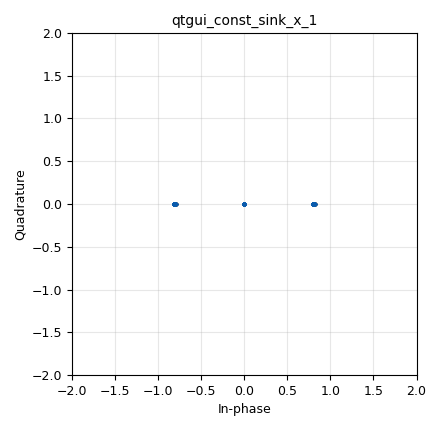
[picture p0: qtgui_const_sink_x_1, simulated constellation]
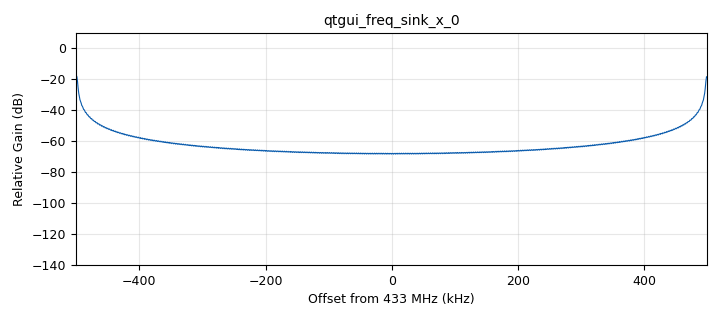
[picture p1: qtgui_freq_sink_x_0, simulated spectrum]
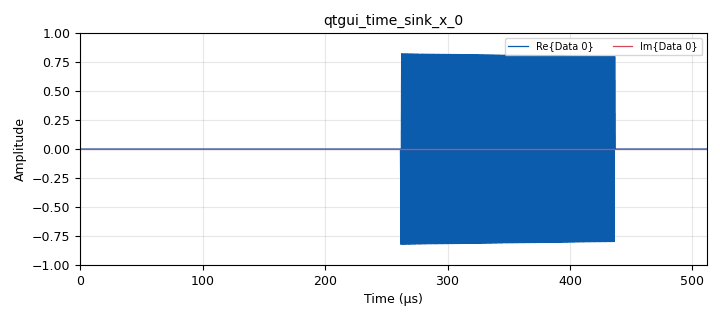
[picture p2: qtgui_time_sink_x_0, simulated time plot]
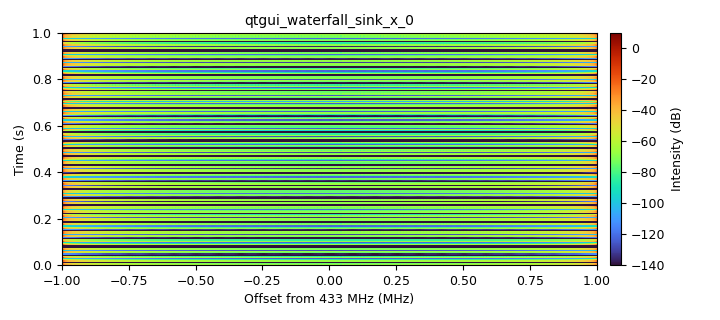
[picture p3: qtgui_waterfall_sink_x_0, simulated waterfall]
<?xml version='1.0' encoding='utf-8'?>
<?grc format='1' created='3.7.13'?>
<flow_graph>
<block>
<key>options</key>
<param><key>id</key><value>ask_ook</value></param>
<param><key>generate_options</key><value>qt_gui</value></param>
</block>
<block>
<key>variable</key>
<param><key>id</key><value>freq</value></param>
<param><key>value</key><value>433e6</value></param>
</block>
<block>
<key>variable</key>
<param><key>id</key><value>samp_rate</value></param>
<param><key>value</key><value>2e6</value></param>
</block>
<block>
<key>analog_const_source_x</key>
<param><key>id</key><value>analog_const_source_x_0</value></param>
<param><key>const</key><value>1</value></param>
<param><key>type</key><value>float</value></param>
</block>
<block>
<key>analog_const_source_x</key>
<param><key>id</key><value>analog_const_source_x_1</value></param>
<param><key>const</key><value>0</value></param>
<param><key>type</key><value>float</value></param>
</block>
<block>
<key>analog_sig_source_x</key>
<param><key>id</key><value>analog_sig_source_x_0</value></param>
<param><key>amp</key><value>1</value></param>
<param><key>freq</key><value>freq</value></param>
<param><key>offset</key><value>0</value></param>
<param><key>type</key><value>float</value></param>
<param><key>samp_rate</key><value>samp_rate</value></param>
<param><key>waveform</key><value>analog.GR_COS_WAVE</value></param>
</block>
<block>
<key>blocks_float_to_complex</key>
<param><key>id</key><value>blocks_float_to_complex_0</value></param>
</block>
<block>
<key>blocks_multiply_const_vxx</key>
<param><key>id</key><value>blocks_multiply_const_vxx_0</value></param>
<param><key>const</key><value>1</value></param>
<param><key>type</key><value>complex</value></param>
</block>
<block>
<key>blocks_multiply_xx</key>
<param><key>id</key><value>blocks_multiply_xx_0</value></param>
<param><key>type</key><value>float</value></param>
</block>
<block>
<key>blocks_patterned_interleaver</key>
<param><key>id</key><value>blocks_patterned_interleaver_0</value></param>
<param><key>type</key><value>float</value></param>
<param><key>pattern</key><value>[0,2,1,2,1]</value></param>
</block>
<block>
<key>blocks_patterned_interleaver</key>
<param><key>id</key><value>blocks_patterned_interleaver_2</value></param>
<param><key>type</key><value>float</value></param>
<param><key>pattern</key><value>[0,1]</value></param>
</block>
<block>
<key>blocks_repeat</key>
<param><key>id</key><value>blocks_repeat_0</value></param>
<param><key>interp</key><value>350</value></param>
<param><key>type</key><value>float</value></param>
</block>
<block>
<key>blocks_throttle</key>
<param><key>id</key><value>blocks_throttle_0</value></param>
<param><key>samples_per_second</key><value>samp_rate</value></param>
<param><key>type</key><value>float</value></param>
</block>
<block>
<key>blocks_throttle</key>
<param><key>id</key><value>blocks_throttle_1</value></param>
<param><key>samples_per_second</key><value>2e5</value></param>
<param><key>type</key><value>complex</value></param>
</block>
<block>
<key>blocks_vector_source_x</key>
<param><key>id</key><value>blocks_vector_source_x_1</value></param>
<param><key>type</key><value>float</value></param>
<param><key>repeat</key><value>True</value></param>
<param><key>vector</key><value>(1,1,1,1,0,0,0,0,1,1,1,1,0,0,0,0,1,1,0,0,1,1,0,0,1,0,1,0)</value></param>
</block>
<block>
<key>qtgui_const_sink_x</key>
<param><key>id</key><value>qtgui_const_sink_x_1</value></param>
<param><key>size</key><value>1024</value></param>
<param><key>type</key><value>complex</value></param>
</block>
<block>
<key>qtgui_freq_sink_x</key>
<param><key>id</key><value>qtgui_freq_sink_x_0</value></param>
<param><key>bw</key><value>1e6</value></param>
<param><key>fc</key><value>freq</value></param>
<param><key>fftsize</key><value>1024</value></param>
<param><key>showports</key><value>True</value></param>
<param><key>type</key><value>complex</value></param>
<param><key>wintype</key><value>firdes.WIN_BLACKMAN_hARRIS</value></param>
</block>
<block>
<key>qtgui_time_sink_x</key>
<param><key>id</key><value>qtgui_time_sink_x_0</value></param>
<param><key>color1</key><value>"blue"</value></param>
<param><key>label1</key><value></value></param>
<param><key>color2</key><value>"red"</value></param>
<param><key>label2</key><value></value></param>
<param><key>size</key><value>1024</value></param>
<param><key>srate</key><value>samp_rate</value></param>
<param><key>type</key><value>complex</value></param>
</block>
<block>
<key>qtgui_waterfall_sink_x</key>
<param><key>id</key><value>qtgui_waterfall_sink_x_0</value></param>
<param><key>bw</key><value>samp_rate</value></param>
<param><key>fc</key><value>freq</value></param>
<param><key>fftsize</key><value>1024</value></param>
<param><key>showports</key><value>True</value></param>
<param><key>type</key><value>complex</value></param>
<param><key>update_time</key><value>0.01</value></param>
<param><key>wintype</key><value>firdes.WIN_BLACKMAN_hARRIS</value></param>
</block>
<connection><source_block_id>analog_const_source_x_0</source_block_id><sink_block_id>blocks_patterned_interleaver_0</sink_block_id><source_key>0</source_key><sink_key>2</sink_key></connection>
<connection><source_block_id>analog_const_source_x_1</source_block_id><sink_block_id>blocks_patterned_interleaver_0</sink_block_id><source_key>0</source_key><sink_key>1</sink_key></connection>
<connection><source_block_id>analog_const_source_x_1</source_block_id><sink_block_id>blocks_patterned_interleaver_2</sink_block_id><source_key>0</source_key><sink_key>1</sink_key></connection>
<connection><source_block_id>analog_sig_source_x_0</source_block_id><sink_block_id>blocks_multiply_xx_0</sink_block_id><source_key>0</source_key><sink_key>1</sink_key></connection>
<connection><source_block_id>blocks_float_to_complex_0</source_block_id><sink_block_id>blocks_multiply_const_vxx_0</sink_block_id><source_key>0</source_key><sink_key>0</sink_key></connection>
<connection><source_block_id>blocks_multiply_const_vxx_0</source_block_id><sink_block_id>blocks_throttle_1</sink_block_id><source_key>0</source_key><sink_key>0</sink_key></connection>
<connection><source_block_id>blocks_multiply_xx_0</source_block_id><sink_block_id>blocks_float_to_complex_0</sink_block_id><source_key>0</source_key><sink_key>0</sink_key></connection>
<connection><source_block_id>blocks_patterned_interleaver_0</source_block_id><sink_block_id>blocks_patterned_interleaver_2</sink_block_id><source_key>0</source_key><sink_key>0</sink_key></connection>
<connection><source_block_id>blocks_patterned_interleaver_2</source_block_id><sink_block_id>blocks_repeat_0</sink_block_id><source_key>0</source_key><sink_key>0</sink_key></connection>
<connection><source_block_id>blocks_repeat_0</source_block_id><sink_block_id>blocks_throttle_0</sink_block_id><source_key>0</source_key><sink_key>0</sink_key></connection>
<connection><source_block_id>blocks_throttle_0</source_block_id><sink_block_id>blocks_multiply_xx_0</sink_block_id><source_key>0</source_key><sink_key>0</sink_key></connection>
<connection><source_block_id>blocks_throttle_1</source_block_id><sink_block_id>qtgui_const_sink_x_1</sink_block_id><source_key>0</source_key><sink_key>0</sink_key></connection>
<connection><source_block_id>blocks_throttle_1</source_block_id><sink_block_id>qtgui_freq_sink_x_0</sink_block_id><source_key>0</source_key><sink_key>0</sink_key></connection>
<connection><source_block_id>blocks_throttle_1</source_block_id><sink_block_id>qtgui_time_sink_x_0</sink_block_id><source_key>0</source_key><sink_key>0</sink_key></connection>
<connection><source_block_id>blocks_throttle_1</source_block_id><sink_block_id>qtgui_waterfall_sink_x_0</sink_block_id><source_key>0</source_key><sink_key>0</sink_key></connection>
<connection><source_block_id>blocks_vector_source_x_1</source_block_id><sink_block_id>blocks_patterned_interleaver_0</sink_block_id><source_key>0</source_key><sink_key>0</sink_key></connection>
</flow_graph>
